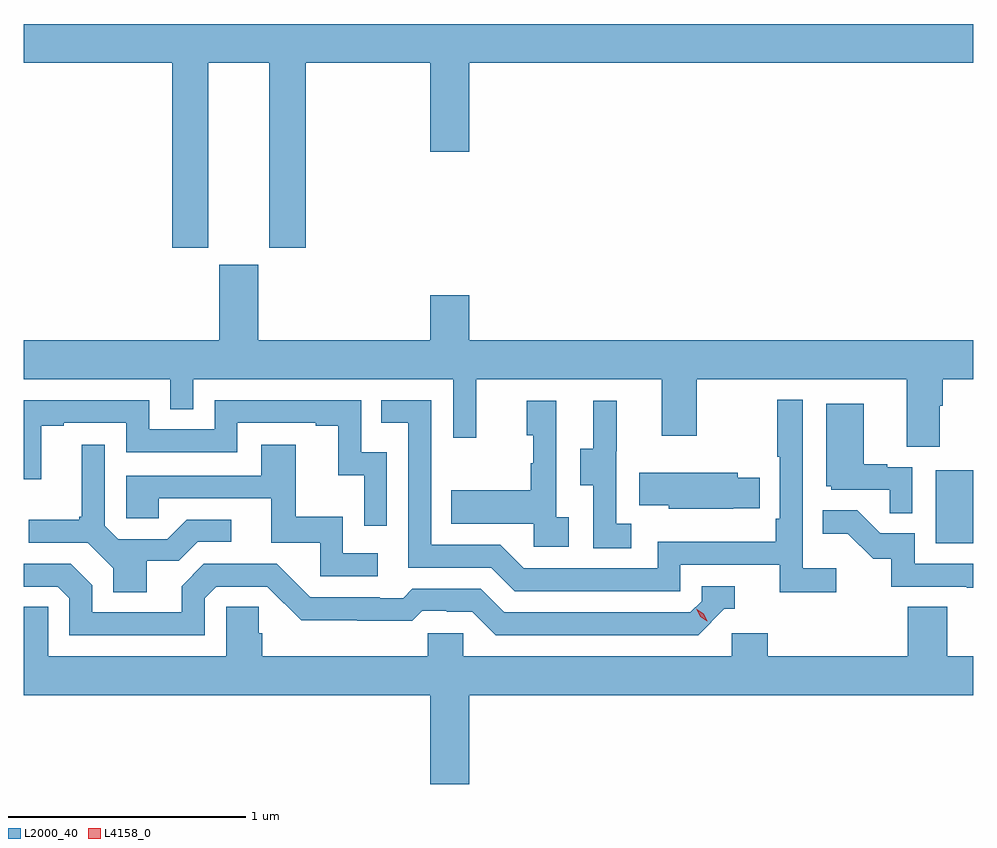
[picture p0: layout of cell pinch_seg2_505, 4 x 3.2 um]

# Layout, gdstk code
import gdstk
lib = gdstk.Library(unit=1e-6, precision=1e-09)
def R(c, l, rs):  # rectangles x0, y0, x1, y1
    for r in rs: c.add(gdstk.rectangle(r[:2], r[2:], *l))
def P(c, l, *ps):  # polygons
    for p in ps: c.add(gdstk.Polygon(p, *l))
L2000_40 = (2000, 40)
L4158_0 = (4158, 0)

pinch_seg2_505 = lib.new_cell('pinch_seg2_505')
R(pinch_seg2_505, L2000_40, [(994.31,587.004,994.468,587.311)])
P(pinch_seg2_505, L2000_40, [(991.246,589.028),(991.502,589.028),(991.502,588.249),(991.655,588.249),(991.655,589.028),(992.18,589.028),(992.18,588.654),(992.344,588.654),(992.344,589.028),(994.468,589.028),(994.468,589.192),(990.468,589.192),(990.468,589.028),(991.094,589.028),(991.094,588.249),(991.246,588.249)],
  [(994.327,587.584),(994.34,587.584),(994.34,587.696),(994.468,587.696),(994.468,587.86),(992.344,587.86),(992.344,588.049),(992.18,588.049),(992.18,587.86),(991.456,587.86),(991.456,588.177),(991.292,588.177),(991.292,587.86),(990.468,587.86),(990.468,587.696),(991.086,587.696),(991.086,587.569),(991.182,587.569),(991.182,587.696),(992.277,587.696),(992.277,587.448),(992.375,587.448),(992.375,587.696),(993.155,587.696),(993.155,587.457),(993.303,587.457),(993.303,587.696),(994.187,587.696),(994.187,587.41),(994.327,587.41)],
  [(993.892,586.9),(993.75,586.9),(993.75,587.608),(993.642,587.608),(993.642,587.368),(993.654,587.368),(993.654,587.107),(993.637,587.107),(993.637,587.011),(993.138,587.011),(993.138,586.899),(992.574,586.899),(992.475,586.998),(992.184,586.998),(992.184,587.607),(991.975,587.607),(991.975,587.511),(992.088,587.511),(992.088,586.902),(992.438,586.902),(992.537,586.803),(993.234,586.803),(993.234,586.914),(993.653,586.914),(993.653,586.798),(993.892,586.798)],
  [(991.998,587.388),(991.89,587.388),(991.89,587.607),(991.272,587.607),(991.272,587.484),(990.996,587.484),(990.996,587.607),(990.468,587.607),(990.468,587.273),(990.541,587.273),(990.541,587.499),(990.637,587.499),(990.637,587.511),(990.9,587.511),(990.9,587.388),(991.368,587.388),(991.368,587.511),(991.697,587.511),(991.697,587.499),(991.793,587.499),(991.793,587.291),(991.902,587.291),(991.902,587.079),(991.998,587.079)],
  [(992.764,587.114),(992.712,587.114),(992.712,587.605),(992.588,587.605),(992.588,587.46),(992.614,587.46),(992.614,587.342),(992.604,587.342),(992.604,587.227),(992.269,587.227),(992.269,587.087),(992.616,587.087),(992.616,586.989),(992.764,586.989)],
  [(993.028,587.087),(992.964,587.087),(992.964,587.391),(992.966,587.391),(992.966,587.605),(992.867,587.605),(992.867,587.403),(992.813,587.403),(992.813,587.248),(992.868,587.248),(992.868,586.984),(993.028,586.984)],
  [(994.212,587.325),(994.106,587.325),(994.106,587.338),(994.006,587.338),(994.006,587.593),(993.848,587.593),(993.848,587.244),(993.87,587.244),(993.87,587.229),(994.117,587.229),(994.117,587.131),(994.212,587.131)],
  [(990.985,586.93),(991.12,586.93),(991.2,587.01),(991.342,587.01),(991.342,587.103),(991.154,587.103),(991.073,587.022),(990.867,587.022),(990.81,587.079),(990.81,587.419),(990.713,587.419),(990.713,587.116),(990.702,587.116),(990.702,587.104),(990.489,587.104),(990.489,587.007),(990.738,587.007),(990.845,586.9),(990.845,586.798),(990.985,586.798)],
  [(991.96,586.962),(991.812,586.962),(991.812,587.116),(991.613,587.116),(991.613,587.419),(991.469,587.419),(991.469,587.289),(990.9,587.289),(990.9,587.109),(991.037,587.109),(991.037,587.193),(991.511,587.193),(991.511,587.007),(991.716,587.007),(991.716,586.866),(991.96,586.866)],
  [(993.458,587.151),(993.569,587.151),(993.569,587.28),(993.475,587.28),(993.475,587.302),(993.061,587.302),(993.061,587.165),(993.186,587.165),(993.186,587.15),(993.458,587.15)],
  [(994.468,586.917),(994.221,586.917),(994.221,587.046),(994.077,587.046),(993.979,587.144),(993.835,587.144),(993.835,587.045),(993.939,587.045),(994.046,586.938),(994.123,586.938),(994.123,586.821),(994.441,586.821),(994.441,586.816),(994.468,586.816)],
  [(991.23,586.773),(991.278,586.821),(991.494,586.821),(991.636,586.679),(991.872,586.679),(991.872,586.677),(992.105,586.677),(992.147,586.719),(992.25,586.719),(992.25,586.716),(992.357,586.716),(992.456,586.617),(993.309,586.617),(993.42,586.728),(993.463,586.728),(993.463,586.824),(993.324,586.824),(993.324,586.761),(993.276,586.713),(992.493,586.713),(992.394,586.812),(992.105,586.812),(992.066,586.773),(991.967,586.773),(991.967,586.776),(991.674,586.776),(991.533,586.917),(991.227,586.917),(991.133,586.823),(991.133,586.713),(990.756,586.713),(990.756,586.827),(990.666,586.917),(990.468,586.917),(990.468,586.821),(990.612,586.821),(990.66,586.773),(990.66,586.617),(991.23,586.617)],
  [(992.344,586.364),(994.468,586.364),(994.468,586.528),(994.358,586.528),(994.358,586.736),(994.193,586.736),(994.193,586.528),(993.602,586.528),(993.602,586.626),(993.45,586.626),(993.45,586.528),(992.319,586.528),(992.319,586.626),(992.169,586.626),(992.169,586.528),(991.472,586.528),(991.472,586.626),(991.457,586.626),(991.457,586.736),(991.32,586.736),(991.32,586.528),(990.57,586.528),(990.57,586.736),(990.468,586.736),(990.468,586.364),(992.18,586.364),(992.18,585.99),(992.344,585.99)])
P(pinch_seg2_505, L4158_0, [(993.347,586.675),(993.317,586.695),(993.301,586.728),(993.301,586.728),(993.302,586.728),(993.332,586.708),(993.348,586.676),(993.348,586.675)])

lib.write_gds('pinch_seg2_505.gds')
